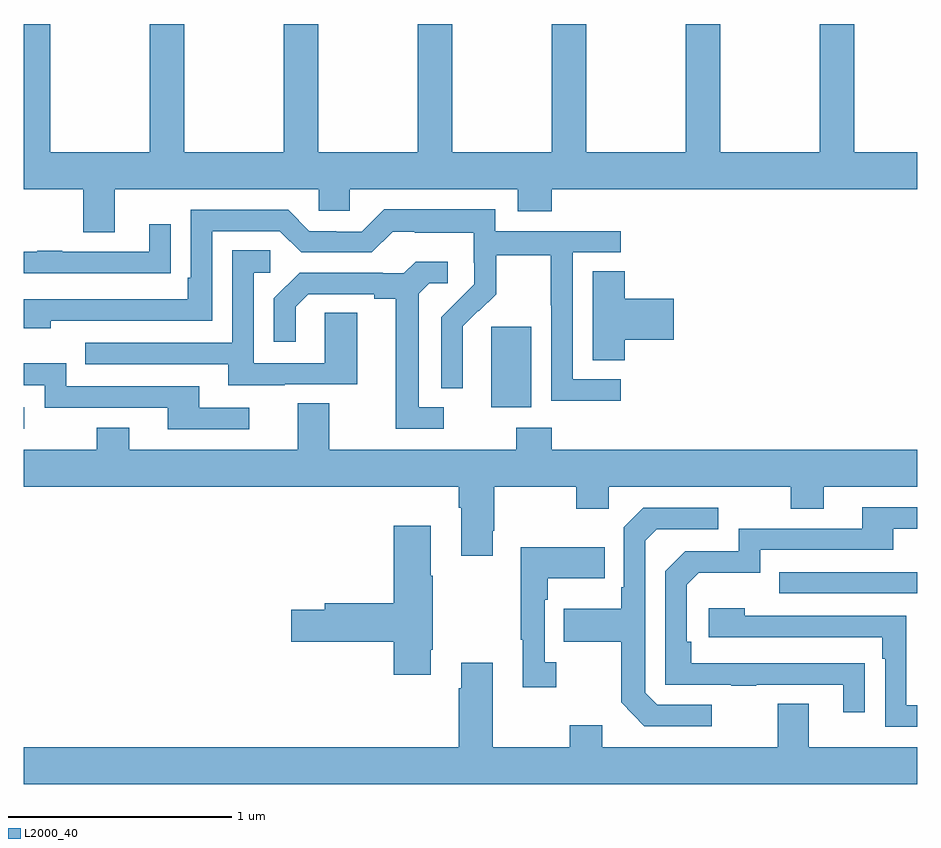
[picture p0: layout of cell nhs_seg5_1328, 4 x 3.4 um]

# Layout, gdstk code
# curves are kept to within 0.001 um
import gdstk
lib = gdstk.Library(unit=1e-6, precision=1e-09)
def R(c, l, rs):  # rectangles x0, y0, x1, y1
    for r in rs: c.add(gdstk.rectangle(r[:2], r[2:], *l))
def P(c, l, *ps):  # polygons
    for p in ps: c.add(gdstk.Polygon(p, *l))
L2000_40 = (2000, 40)

nhs_seg5_1328 = lib.new_cell('nhs_seg5_1328')
R(nhs_seg5_1328, L2000_40, [(194.383,888.249,195,888.345), (191,888.987,191.002,889.083), (193.094,889.082,193.273,889.443)])
P(nhs_seg5_1328, L2000_40, [(191.407,890.06),(192.321,890.06),(192.321,889.962),(192.459,889.962),(192.459,890.06),(193.211,890.06),(193.211,889.961),(193.364,889.961),(193.364,890.06),(195,890.06),(195,890.224),(194.718,890.224),(194.718,890.799),(194.563,890.799),(194.563,890.224),(194.118,890.224),(194.118,890.799),(193.963,890.799),(193.963,890.224),(193.518,890.224),(193.518,890.799),(193.363,890.799),(193.363,890.224),(192.918,890.224),(192.918,890.799),(192.763,890.799),(192.763,890.224),(192.318,890.224),(192.318,890.799),(192.163,890.799),(192.163,890.224),(191.718,890.224),(191.718,890.799),(191.563,890.799),(191.563,890.224),(191.118,890.224),(191.118,890.799),(191,890.799),(191,890.06),(191.267,890.06),(191.267,889.866),(191.407,889.866)],
  [(193.672,889.209),(193.458,889.209),(193.458,889.776),(193.672,889.776),(193.672,889.872),(193.11,889.872),(193.11,889.969),(192.613,889.969),(192.513,889.869),(192.398,889.869),(192.398,889.872),(192.279,889.872),(192.183,889.968),(191.748,889.968),(191.748,889.663),(191.735,889.663),(191.735,889.566),(191,889.566),(191,889.436),(191.12,889.436),(191.12,889.47),(191.844,889.47),(191.844,889.872),(192.147,889.872),(192.243,889.776),(192.558,889.776),(192.651,889.869),(192.751,889.869),(192.751,889.865),(193.014,889.865),(193.014,889.731),(193.016,889.731),(193.016,889.634),(192.87,889.486),(192.87,889.168),(192.966,889.168),(192.965,889.445),(193.035,889.515),(193.038,889.512),(193.115,889.589),(193.115,889.764),(193.36,889.764),(193.36,889.54),(193.362,889.54),(193.362,889.111),(193.672,889.111)],
  [(191.555,889.684),(191.657,889.684),(191.657,889.903),(191.561,889.903),(191.561,889.779),(191.171,889.779),(191.171,889.784),(191.059,889.784),(191.059,889.779),(191,889.779),(191,889.683),(191.555,889.683)],
  [(192.169,889.185),(192.493,889.185),(192.493,889.505),(192.348,889.505),(192.348,889.281),(192.03,889.281),(192.03,889.686),(192.103,889.686),(192.103,889.787),(191.934,889.787),(191.934,889.371),(191.275,889.371),(191.275,889.275),(191.915,889.275),(191.915,889.181),(192.169,889.181)],
  [(192.88,889.083),(192.769,889.083),(192.769,889.591),(192.816,889.638),(192.898,889.638),(192.898,889.735),(192.754,889.735),(192.702,889.683),(192.608,889.683),(192.608,889.686),(192.236,889.686),(192.12,889.57),(192.12,889.377),(192.217,889.377),(192.217,889.533),(192.274,889.59),(192.569,889.59),(192.569,889.568),(192.665,889.568),(192.665,888.987),(192.88,888.987)],
  [(193.691,889.385),(193.909,889.385),(193.909,889.568),(193.691,889.568),(193.691,889.691),(193.547,889.691),(193.547,889.294),(193.691,889.294)],
  [(192.01,889.08),(191.785,889.08),(191.785,889.176),(191.19,889.176),(191.19,889.279),(191,889.279),(191,889.182),(191.094,889.182),(191.094,889.08),(191.645,889.08),(191.645,888.984),(192.01,888.984)],
  [(193.099,888.529),(193.107,888.529),(193.107,888.728),(193.474,888.728),(193.474,888.629),(193.62,888.629),(193.62,888.728),(194.434,888.728),(194.434,888.629),(194.581,888.629),(194.581,888.728),(195,888.728),(195,888.892),(193.364,888.892),(193.364,888.991),(193.204,888.991),(193.204,888.892),(192.367,888.892),(192.367,889.1),(192.227,889.1),(192.227,888.892),(191.473,888.892),(191.473,888.991),(191.326,888.991),(191.326,888.892),(191,888.892),(191,888.728),(192.947,888.728),(192.947,888.632),(192.959,888.632),(192.959,888.417),(193.099,888.417)],
  [(194.765,887.936),(193.988,887.937),(193.988,888.034),(193.968,888.034),(193.968,888.288),(194.021,888.341),(194.298,888.341),(194.298,888.444),(194.893,888.444),(194.893,888.54),(195,888.54),(195,888.636),(194.753,888.636),(194.753,888.54),(194.202,888.54),(194.202,888.438),(193.962,888.438),(193.872,888.348),(193.872,887.841),(194.167,887.841),(194.167,887.836),(194.279,887.836),(194.279,887.841),(194.669,887.841),(194.669,887.718),(194.765,887.718)],
  [(194.08,887.751),(193.836,887.751),(193.782,887.805),(193.782,888.486),(193.833,888.537),(194.11,888.537),(194.11,888.633),(193.773,888.633),(193.686,888.546),(193.686,888.277),(193.674,888.277),(193.674,888.181),(193.417,888.181),(193.417,888.034),(193.674,888.034),(193.674,887.761),(193.779,887.655),(194.08,887.655)],
  [(192.823,887.998),(192.831,887.998),(192.831,888.329),(192.823,888.329),(192.823,888.553),(192.656,888.553),(192.656,888.206),(192.347,888.206),(192.347,888.176),(192.198,888.176),(192.198,888.034),(192.656,888.034),(192.656,887.886),(192.823,887.886)],
  [(193.384,887.942),(193.332,887.942),(193.332,888.221),(193.345,888.221),(193.345,888.317),(193.601,888.317),(193.601,888.457),(193.224,888.457),(193.224,888.041),(193.235,888.041),(193.235,887.829),(193.384,887.829)],
  [(195,887.748),(194.952,887.748),(194.952,888.15),(194.228,888.15),(194.228,888.184),(194.067,888.184),(194.067,888.054),(194.843,888.054),(194.843,887.957),(194.856,887.957),(194.856,887.652),(195,887.652)],
  [(195,887.56),(194.515,887.56),(194.515,887.755),(194.375,887.755),(194.375,887.56),(193.591,887.56),(193.591,887.659),(193.444,887.659),(193.444,887.56),(193.099,887.56),(193.099,887.938),(192.959,887.938),(192.959,887.825),(192.947,887.825),(192.947,887.56),(191,887.56),(191,887.396),(195,887.396)])

lib.write_gds('nhs_seg5_1328.gds')
